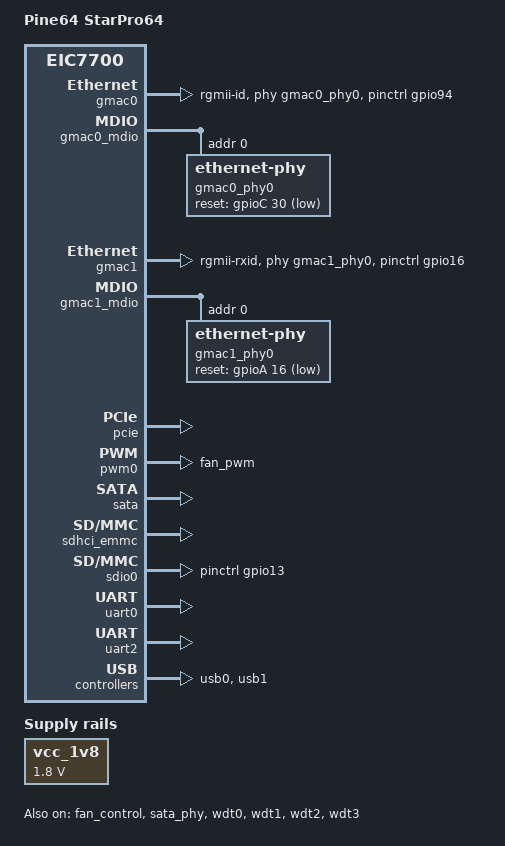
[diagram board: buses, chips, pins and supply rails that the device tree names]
// SPDX-License-Identifier: (GPL-2.0 OR MIT)
/*
 * Copyright (c) 2024, Beijing ESWIN Computing Technology Co., Ltd.
 */

/dts-v1/;

#define CMA_SIZE        0x20000000

#include "eic7700.dtsi"

/ {
	compatible = "pine64,starpro64", "eswin,eic7700";
	model = "Pine64 StarPro64";

	aliases {
		mmc0 = &sdhci_emmc;
		mmc1 = &sdio0;
		serial0 = &uart0;
		ethernet0 = &gmac0;
		ethernet1 = &gmac1;
	};

	chosen {
		stdout-path = "serial0:115200n8";
	};

	reserved-memory {
		#address-cells = <2>;
		#size-cells = <2>;
		ranges;

		linux,cma {
			compatible = "shared-dma-pool";
			reusable;
			size = <0x0 CMA_SIZE>;
			alignment = <0x0 0x1000>;
			linux,cma-default;
		};
	};

	vcc_1v8: vcc1v8 {
		compatible = "regulator-fixed";
		regulator-name = "vcc1v8";
		regulator-always-on;
		regulator-boot-on;
		regulator-min-microvolt = <1800000>;
		regulator-max-microvolt = <1800000>;
	};
};

&cpu_opp_table {
	opp-1600000000 {
		opp-hz = /bits/ 64 <1600000000>;
		opp-microvolt = <900000>;
		clock-latency-ns = <70000>;
	};
};

&xtal24m {
	clock-frequency = <24000000>;
	clock-output-names = "xtal24m";
};

&pinctrl {
	status = "okay";
	vrgmii-supply = <&vcc_1v8>;

	pinctrl_gpio13: gpio13-grp {
		gpio13-pins {
			pins = "mode_set0";
			function = "gpio";
			input-enable;
			bias-pull-up;
		};
	};

	pinctrl_gpio16: gpio16-grp {
		gpio16-pins {
			pins = "mode_set3";
			function = "gpio";
			input-disable;
			bias-disable;
		};
	};

	pinctrl_gpio94: gpio94-grp {
		gpio94-pins {
			pins = "s_mode";
			function = "gpio";
			input-disable;
			bias-disable;
		};
	};

	pinctrl_pwm0: pwm0-grp {
		pwm0-pins {
			pins = "fan_pwm";
			function = "pwm";
		};
	};

	pinctrl_fan_tach_pins: fan-tach-grp {
		fan-tach-pins {
			pins = "fan_tach";
			function = "fan_tach";
		};
	};
};

&fan_control {
	status = "okay";
	pinctrl-names = "default";
	pinctrl-0 = <&pinctrl_fan_tach_pins>;
};

&gmac0 {
	phy-handle = <&gmac0_phy0>;
	phy-mode = "rgmii-id";
	pinctrl-names = "default";
	pinctrl-0 = <&pinctrl_gpio94>;
	status = "okay";
};

&gmac0_mdio {
	gmac0_phy0: ethernet-phy@0 {
		reg = <0>;
		reset-gpios = <&gpioC 30 GPIO_ACTIVE_LOW>;
		reset-assert-us = <10000>;
		reset-deassert-us = <80000>;
	};
};

&gmac1 {
	phy-handle = <&gmac1_phy0>;
	phy-mode = "rgmii-rxid";
	pinctrl-names = "default";
	pinctrl-0 = <&pinctrl_gpio16>;
	rx-internal-delay-ps = <700>;
	tx-internal-delay-ps = <400>;
	status = "okay";
};

&gmac1_mdio {
	gmac1_phy0: ethernet-phy@0 {
		reg = <0>;
		reset-gpios = <&gpioA 16 GPIO_ACTIVE_LOW>;
		reset-assert-us = <10000>;
		reset-deassert-us = <80000>;
	};
};

&pcie {
	status = "okay";
};

&pwm0 {
	status = "okay";
	pinctrl-names = "default";
	pinctrl-0 = <&pinctrl_pwm0>;
};

&sata {
	status = "okay";
};

&sata_phy {
	status = "okay";
};

&sdhci_emmc {
	status = "okay";
	/*
	 * The eMMC data strobe pin is wired to RST on this board, so HS400
	 * (which requires a working data strobe) cannot work. Cap the eMMC
	 * at HS200 1.8V.
	 */
	/delete-property/ mmc-hs400-1_8v;
	mmc-hs200-1_8v;
};

&sdio0 {
	status = "okay";
	pinctrl-names = "default";
	pinctrl-0 = <&pinctrl_gpio13>;
	cd-gpios = <&gpioA 13 GPIO_ACTIVE_LOW>;
	disable-wp;
};

&uart0 {
	status = "okay";
};

&uart2 {
	status = "okay";
};

&usb0 {
	status = "okay";
};

&usb1 {
	status = "okay";
};

&wdt0 {
	status = "okay";
};

&wdt1 {
	status = "okay";
};

&wdt2 {
	status = "okay";
};

&wdt3 {
	status = "okay";
};
